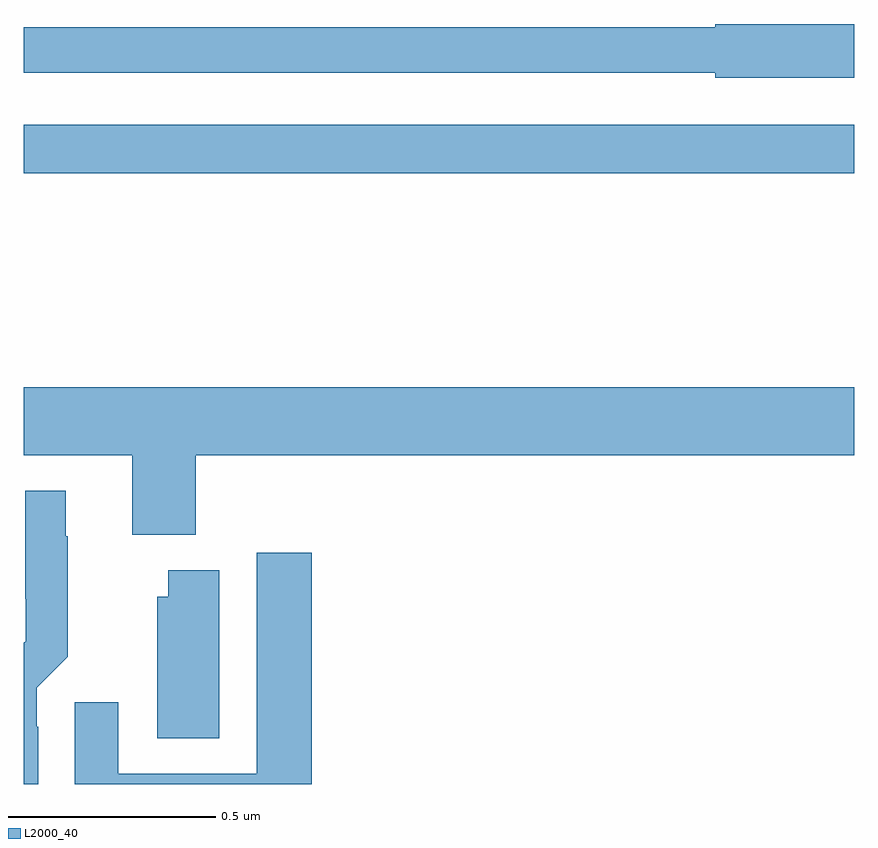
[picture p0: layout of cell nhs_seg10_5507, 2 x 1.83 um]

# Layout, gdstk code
import gdstk
lib = gdstk.Library(unit=1e-6, precision=1e-09)
def R(c, l, rs):  # rectangles x0, y0, x1, y1
    for r in rs: c.add(gdstk.rectangle(r[:2], r[2:], *l))
def P(c, l, *ps):  # polygons
    for p in ps: c.add(gdstk.Polygon(p, *l))
L2000_40 = (2000, 40)

nhs_seg10_5507 = lib.new_cell('nhs_seg10_5507')
R(nhs_seg10_5507, L2000_40, [(179,1324.972,181,1325.088)])
P(nhs_seg10_5507, L2000_40, [(181,1325.331),(180.666,1325.331),(180.666,1325.323),(179,1325.323),(179,1325.214),(180.666,1325.214),(180.666,1325.201),(181,1325.201)],
  [(179.414,1324.292),(181,1324.292),(181,1324.456),(179,1324.456),(179,1324.292),(179.261,1324.292),(179.261,1324.1),(179.414,1324.1)],
  [(179.035,1323.638),(179.031,1323.638),(179.031,1323.732),(179.105,1323.806),(179.105,1324.097),(179.101,1324.097),(179.101,1324.207),(179.003,1324.207),(179.003,1323.946),(179.004,1323.946),(179.004,1323.844),(179,1323.84),(179,1323.5),(179.035,1323.5)],
  [(179.693,1324.057),(179.561,1324.057),(179.561,1323.525),(179.227,1323.525),(179.227,1323.697),(179.123,1323.697),(179.123,1323.5),(179.693,1323.5)],
  [(179.47,1324.015),(179.348,1324.015),(179.348,1323.951),(179.321,1323.951),(179.321,1323.61),(179.47,1323.61)])

lib.write_gds('nhs_seg10_5507.gds')
